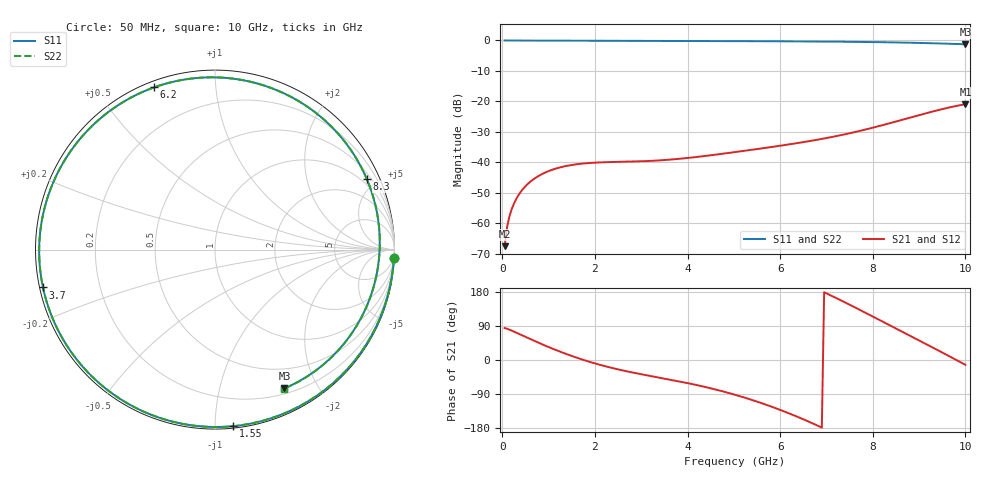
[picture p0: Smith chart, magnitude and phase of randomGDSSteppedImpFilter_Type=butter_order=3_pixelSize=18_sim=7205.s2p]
! freq	dB(S11)	phase(S11)	dB(S12)	phase(S12)
!  dB(S21)	phase(S21)	dB(S22)	phase(S22)
!S-par simulation data
#  GHz  S  DB  R 50
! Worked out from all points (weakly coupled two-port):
!   200 points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, 50 MHz to 10 GHz, reference 50 ohm
!   highest |S21| = -20.91 dB at 10 GHz (marker M1); lowest = -67.4 dB at 50 MHz (marker M2)
!   lowest |S11| = -1.3 dB at 10 GHz (marker M3), VSWR 13.77, Z = 13 - j79.4 ohm
!   |S11| at or under -10 dB: nowhere
!   |S22| runs from -1.3 to 0.0 dB; largest |S21 - S12| = 0
!   S11 on the Smith chart (normalised r, x): 50 MHz: 1, -40; 1.55 GHz: 0.01, -1.11; 3.7 GHz: 0.01, -0.11; 6.2 GHz: 0.03, +0.69; 8.3 GHz: 0.73, +4.39; 10 GHz: 0.26, -1.59
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0.05  -0.01 -2.8  -67.45 84.3  -67.45 84.3  -0.02 -2.8
0.1  -0.02 -5.8  -61.42 82.8  -61.42 82.8  -0.03 -5.8
0.2  -0.03 -11.7  -55.45 77.6  -55.45 77.6  -0.03 -11.7
0.45  -0.04 -26.2  -48.65 63.7  -48.65 63.7  -0.04 -26.2
1  -0.07 -56.6  -42.83 34.1  -42.83 34.1  -0.07 -56.6
1.55  -0.10 -84.2  -40.71 8.5  -40.71 8.5  -0.10 -84.2
1.75  -0.10 -93.5  -40.35 0.3  -40.35 0.3  -0.10 -93.5
2.6  -0.13 -128.8  -39.79 -27.5  -39.79 -27.5  -0.13 -128.9
3.4  -0.15 -157.5  -39.32 -46.7  -39.32 -46.7  -0.15 -157.6
3.7  -0.16 -167.6  -38.98 -53.6  -38.98 -53.6  -0.16 -167.7
4.35  -0.19 171.3  -37.94 -70.3  -37.94 -70.3  -0.19 171.2
5.05  -0.23 149.0  -36.56 -92.6  -36.56 -92.6  -0.23 148.7
5.6  -0.26 131.0  -35.41 -113.9  -35.41 -113.9  -0.26 130.7
6.2  -0.31 110.5  -34.07 -141.2  -34.07 -141.2  -0.31 110.2
6.7  -0.35 92.3  -32.83 -167.2  -32.83 -167.2  -0.35 92.0
7.5  -0.45 60.6  -30.44 145.9  -30.44 145.9  -0.45 60.2
8.3  -0.61 25.0  -27.42 95.8  -27.42 95.8  -0.61 24.5
8.35  -0.62 22.6  -27.22 92.7  -27.22 92.7  -0.62 22.2
8.75  -0.73 3.2  -25.55 67.4  -25.55 67.4  -0.73 2.7
9.15  -0.87 -17.2  -23.88 42.1  -23.88 42.1  -0.87 -17.6
9.55  -1.04 -38.5  -22.34 16.6  -22.34 16.6  -1.04 -38.9
10  -1.26 -63.4  -20.91 -12.7  -20.91 -12.7  -1.26 -63.7
